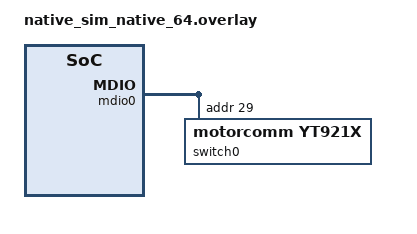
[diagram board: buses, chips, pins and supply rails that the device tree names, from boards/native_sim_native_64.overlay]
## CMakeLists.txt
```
# SPDX-License-Identifier: Apache-2.0
cmake_minimum_required(VERSION 3.20.0)

# The module is two directories up from this sample.
get_filename_component(YT921X_MODULE_DIR ${CMAKE_CURRENT_LIST_DIR}/../.. ABSOLUTE)
list(APPEND ZEPHYR_EXTRA_MODULES ${YT921X_MODULE_DIR})

find_package(Zephyr REQUIRED HINTS $ENV{ZEPHYR_BASE})
project(yt921x_identify)

target_sources(app PRIVATE src/main.c)
```

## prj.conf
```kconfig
CONFIG_GPIO=y
CONFIG_MDIO=y
CONFIG_LOG=y
```

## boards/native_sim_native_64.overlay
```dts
/* SPDX-License-Identifier: Apache-2.0 */
/*
 * A bit-banged MDIO bus on two emulated GPIOs, with the switch at MDIO
 * address 0x1d. On real hardware, put the switch node under the MDIO
 * controller of the board in the same way.
 */
/ {
	mdio0: mdio {
		compatible = "zephyr,mdio-gpio";
		#address-cells = <1>;
		#size-cells = <0>;
		mdc-gpios = <&gpio0 0 GPIO_ACTIVE_HIGH>;
		mdio-gpios = <&gpio0 1 GPIO_ACTIVE_HIGH>;

		switch0: switch@1d {
			compatible = "motorcomm,yt921x";
			reg = <0x1d>;
		};
	};
};
```

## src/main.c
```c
/* SPDX-License-Identifier: Apache-2.0 */
/*
 * Print the part the YT921x device found at init and the link state of
 * every port.
 */
#include <zephyr/device.h>
#include <zephyr/devicetree.h>
#include <zephyr/kernel.h>
#include <zephyr/sys/printk.h>

#include <yt921x/yt921x_zephyr.h>

static const struct device *const sw = DEVICE_DT_GET(DT_NODELABEL(switch0));

int main(void)
{
	const struct yt921x_id *id;
	struct yt921x *dev;

	if (!device_is_ready(sw)) {
		printk("no YT921x switch answered on the MDIO bus\n");
		return 0;
	}

	id = yt921x_zephyr_id(sw);
	printk("%s, chip ID 0x%04x%04x\n", id->part->name, id->major, id->minor);

	dev = yt921x_zephyr_lock(sw);
	for (unsigned int port = 0; port < YT921X_PORT_NUM; port++) {
		uint32_t status;

		if (yt921x_reg_read(dev, YT921X_PORT_STATUS(port), &status) != 0) {
			break;
		}
		printk("port %u: link %s\n", port,
		       YT921X_FGET(status, YT921X_PORT_STATUS_LINK) ? "up" : "down");
	}
	yt921x_zephyr_unlock(sw);
	return 0;
}
```
